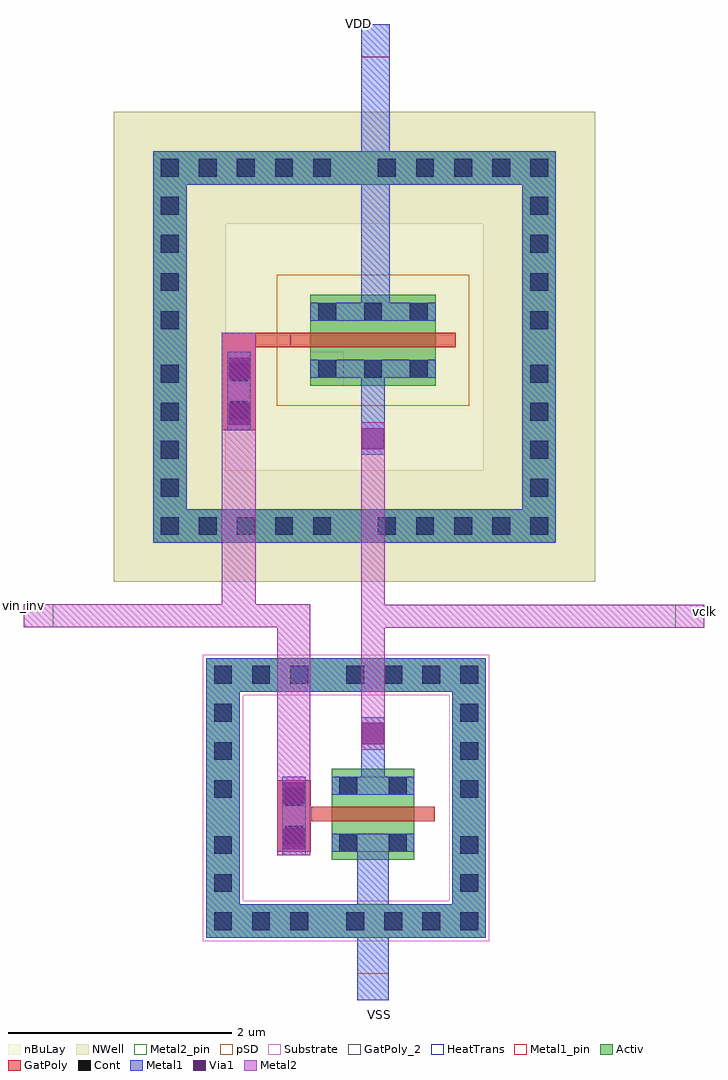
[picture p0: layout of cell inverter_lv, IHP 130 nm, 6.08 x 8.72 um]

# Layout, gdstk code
from math import pi, radians
import gdstk
lib = gdstk.Library(unit=1e-6, precision=5e-09)
def R(c, l, rs):  # rectangles x0, y0, x1, y1
    for r in rs: c.add(gdstk.rectangle(r[:2], r[2:], *l))
def A(c, l, x, y, w, h, nx, ny, dx, dy):  # array of equal rectangles
    R(c, l, [(x+i*dx, y+j*dy, x+i*dx+w, y+j*dy+h) for i in range(nx) for j in range(ny)])
def P(c, l, *ps):  # polygons
    for p in ps: c.add(gdstk.Polygon(p, *l))
Activ = (1, 0)
GatPoly = (5, 0)
GatPoly_2 = (5, 2)
Cont = (6, 0)
Metal1 = (8, 0)
Metal1_pin = (8, 2)
Metal2 = (10, 0)
Metal2_pin = (10, 2)
pSD = (14, 0)
Via1 = (19, 0)
NWell = (31, 0)
nBuLay = (32, 0)
Substrate = (40, 0)
HeatTrans = (51, 0)

pmos_1 = lib.new_cell('pmos$1')
R(pmos_1, Activ, [(0,0,0.3,0.3), (0,0,0.81,1.12), (0.51,0,0.81,0.3)])
R(pmos_1, GatPoly, [(0.34,-0.18,0.47,1.3), (0.34,-0.18,0.47,1.3)])
A(pmos_1, Cont, 0.07, 0.07, 0.16, 0.16, 1, 3, 0, 0.41)
A(pmos_1, Cont, 0.58, 0.07, 0.16, 0.16, 1, 3, 0, 0.41)
R(pmos_1, Metal1, [(0.07,0,0.23,1.12), (0.07,0,0.23,1.12), (0.58,0,0.74,1.12), (0.58,0,0.74,1.12)])
R(pmos_1, pSD, [(-0.18,-0.3,0.99,1.42)])
R(pmos_1, NWell, [(-0.31,-0.31,1.12,1.43)])
R(pmos_1, Substrate, [(0.51,0,0.81,0.3)])
R(pmos_1, HeatTrans, [(0.34,-0.18,0.47,1.3)])
pmos_1.add(gdstk.Label('pmos', (0.405,0.56), layer=63, texttype=0))
pmos_1.add(gdstk.Label('pmos', (0.405,0.56), layer=51, texttype=0))

via_stack_1 = lib.new_cell('via_stack$1')
R(via_stack_1, Metal1, [(-0.145,-0.105,0.145,0.105)])
R(via_stack_1, Metal2, [(-0.145,-0.1,0.145,0.1)])
R(via_stack_1, Via1, [(-0.095,-0.095,0.095,0.095)])

guard_ring_1 = lib.new_cell('guard_ring$1')
R(guard_ring_1, Activ, [(-1.8,-1.45,-1.5,1.45), (1.5,-1.45,1.8,1.45), (-1.8,1.45,1.8,1.75)])
P(guard_ring_1, Activ, [(-1.8,-1.75),(-1.8,1.45),(-1.5,1.45),(-1.5,-1.45),(1.5,-1.45),(1.5,1.45),(-1.8,1.45),(-1.8,1.75),(1.8,1.75),(1.8,-1.75)])
A(guard_ring_1, Cont, -1.73, -1.68, 0.16, 0.16, 5, 2, 0.34, 3.2)
A(guard_ring_1, Cont, 0.21, -1.68, 0.16, 0.16, 5, 2, 0.34, 3.2)
A(guard_ring_1, Cont, -1.73, -1.34, 0.16, 0.16, 1, 4, 0, 0.34)
A(guard_ring_1, Cont, 1.57, -1.34, 0.16, 0.16, 1, 4, 0, 0.34)
A(guard_ring_1, Cont, -1.73, 0.16, 0.16, 0.16, 1, 4, 0, 0.34)
A(guard_ring_1, Cont, 1.57, 0.16, 0.16, 0.16, 1, 4, 0, 0.34)
R(guard_ring_1, Metal1, [(-1.8,-1.75,1.8,-1.45), (-1.8,-1.45,-1.5,1.45), (1.5,-1.45,1.8,1.45), (-1.8,1.45,1.8,1.75)])
R(guard_ring_1, NWell, [(-2.15,-2.1,2.15,2.1)])
R(guard_ring_1, nBuLay, [(-2.15,-1.1,-1.15,1.1), (1.15,-1.1,2.15,1.1), (-2.15,1.1,2.15,2.1)])
P(guard_ring_1, nBuLay, [(-2.15,-2.1),(-2.15,1.1),(-1.15,1.1),(-1.15,-1.1),(1.15,-1.1),(1.15,1.1),(-2.15,1.1),(-2.15,2.1),(2.15,2.1),(2.15,-2.1)])
guard_ring_1.add(gdstk.Label('well', (0,-1.6), layer=63, texttype=0))

nmos_1 = lib.new_cell('nmos$1')
R(nmos_1, Activ, [(0,0,0.3,0.3), (0,0,0.81,0.74), (0.51,0,0.81,0.3)])
R(nmos_1, GatPoly, [(0.34,-0.18,0.47,0.92)])
R(nmos_1, GatPoly_2, [(0.34,-0.18,0.47,0.92)])
R(nmos_1, Cont, [(0.07,0.07,0.23,0.23), (0.58,0.07,0.74,0.23), (0.07,0.51,0.23,0.67), (0.58,0.51,0.74,0.67)])
R(nmos_1, Metal1, [(0.07,0,0.23,0.74), (0.58,0,0.74,0.74)])
R(nmos_1, Metal1_pin, [(0.07,0,0.23,0.74), (0.58,0,0.74,0.74)])
R(nmos_1, HeatTrans, [(0.34,-0.18,0.47,0.92)])
nmos_1.add(gdstk.Label('nmos', (0.405,0.37), layer=63, texttype=0))
nmos_1.add(gdstk.Label('nmos', (0.405,0.37), layer=51, texttype=0))

via_stack_3 = lib.new_cell('via_stack$3')
R(via_stack_3, GatPoly, [(-0.15,-0.32,0.15,0.32)])
R(via_stack_3, Cont, [(-0.08,-0.25,0.08,-0.09), (-0.08,0.09,0.08,0.25)])
R(via_stack_3, Metal1, [(-0.105,-0.35,0.105,0.35)])
R(via_stack_3, Metal2, [(-0.1,-0.35,0.1,0.35)])
R(via_stack_3, Via1, [(-0.095,-0.3,0.095,-0.11), (-0.095,0.11,0.095,0.3)])

guard_ring_3 = lib.new_cell('guard_ring$3')
R(guard_ring_3, Activ, [(-1.25,-0.95,-0.95,0.95), (0.95,-0.95,1.25,0.95), (-1.25,0.95,1.25,1.25)])
P(guard_ring_3, Activ, [(-1.25,-1.25),(-1.25,0.95),(-0.95,0.95),(-0.95,-0.95),(0.95,-0.95),(0.95,0.95),(-1.25,0.95),(-1.25,1.25),(1.25,1.25),(1.25,-1.25)])
A(guard_ring_3, Cont, -1.18, -1.18, 0.16, 0.16, 3, 2, 0.34, 2.2)
A(guard_ring_3, Cont, 0, -1.18, 0.16, 0.16, 4, 2, 0.34, 2.2)
A(guard_ring_3, Cont, -1.18, 0, 0.16, 0.16, 1, 3, 0, 0.34)
A(guard_ring_3, Cont, 1.02, 0, 0.16, 0.16, 1, 3, 0, 0.34)
R(guard_ring_3, Cont, [(-1.18,-0.84,-1.02,-0.68), (1.02,-0.84,1.18,-0.68), (-1.18,-0.5,-1.02,-0.34), (1.02,-0.5,1.18,-0.34)])
R(guard_ring_3, Metal1, [(-1.25,-1.25,1.25,-0.95), (-1.25,-0.95,-0.95,0.95), (0.95,-0.95,1.25,0.95), (-1.25,0.95,1.25,1.25)])
R(guard_ring_3, pSD, [(-1.28,-0.92,-0.92,0.92), (0.92,-0.92,1.28,0.92), (-1.28,0.92,1.28,1.28)])
P(guard_ring_3, pSD, [(-1.28,-1.28),(-1.28,0.92),(-0.92,0.92),(-0.92,-0.92),(0.92,-0.92),(0.92,0.92),(-1.28,0.92),(-1.28,1.28),(1.28,1.28),(1.28,-1.28)])
R(guard_ring_3, Substrate, [(-1.28,-0.92,-0.92,0.92), (0.92,-0.92,1.28,0.92), (-1.28,0.92,1.28,1.28)])
P(guard_ring_3, Substrate, [(-1.28,-1.28),(-1.28,0.92),(-0.92,0.92),(-0.92,-0.92),(0.92,-0.92),(0.92,0.92),(-1.28,0.92),(-1.28,1.28),(1.28,1.28),(1.28,-1.28)])
guard_ring_3.add(gdstk.Label('sub!', (0,-1.1), layer=63, texttype=0))

inverter_lv = lib.new_cell('inverter_lv')
R(inverter_lv, GatPoly, [(5.025,3.77,5.335,3.9), (4.44,7.265,4.745,8.135), (4.44,8.005,5.175,8.135)])
R(inverter_lv, Metal1, [(5.65,2.175,5.93,3.085), (5.65,2.785,5.93,3.66), (5.685,4.01,5.895,4.7), (5.685,7.045,5.895,7.895), (5.685,8.245,5.94,10.895)])
R(inverter_lv, Metal1_pin, [(5.65,2.175,5.93,2.415), (5.685,10.6,5.94,10.895)])
R(inverter_lv, Metal2, [(4.935,3.47,5.23,5.71), (5.685,4.41,5.895,7.335), (5.685,5.5,8.75,5.705), (2.67,5.505,5.23,5.71), (4.44,5.505,4.745,8.135)])
R(inverter_lv, Metal2_pin, [(8.49,5.5,8.75,5.705), (2.67,5.505,2.935,5.71)])
inverter_lv.add(gdstk.Reference(pmos_1, (5.23,8.475), rotation=3*pi/2))
inverter_lv.add(gdstk.Reference(via_stack_1, (5.79,4.555), rotation=3*pi/2))
inverter_lv.add(gdstk.Reference(guard_ring_1, (5.625,8.01)))
inverter_lv.add(gdstk.Reference(via_stack_1, (5.79,7.19), rotation=3*pi/2))
inverter_lv.add(gdstk.Reference(nmos_1, (5.42,4.24), rotation=3*pi/2))
inverter_lv.add(gdstk.Reference(via_stack_3, (5.085,3.82)))
inverter_lv.add(gdstk.Reference(guard_ring_3, (5.55,3.98)))
inverter_lv.add(gdstk.Reference(via_stack_3, (4.595,7.615)))
inverter_lv.add(gdstk.Label('VDD', (5.665,10.9), layer=8, texttype=2))
inverter_lv.add(gdstk.Label('VSS', (5.85,2.045), layer=8, texttype=2))
inverter_lv.add(gdstk.Label('vclk', (8.755,5.65), layer=10, texttype=2))
inverter_lv.add(gdstk.Label('vin_inv', (2.65,5.7), layer=10, texttype=2))

lib.write_gds('inverter_lv.gds')
